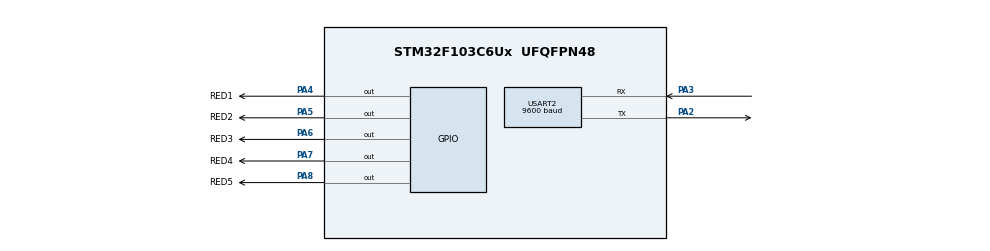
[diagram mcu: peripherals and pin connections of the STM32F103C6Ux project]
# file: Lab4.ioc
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Mcu.Family=STM32F1
Mcu.Name=STM32F103C6Ux
Mcu.Package=UFQFPN48
NVIC.PriorityGroup=NVIC_PRIORITYGROUP_4
NVIC.TIM2_IRQn=true\:0\:0\:false\:false\:true\:true\:true
NVIC.USART2_IRQn=true\:0\:0\:false\:false\:true\:true\:true
PA2.Mode=Asynchronous
PA2.Signal=USART2_TX
PA3.Mode=Asynchronous
PA3.Signal=USART2_RX
PA4.GPIO_Label=RED1
PA4.Signal=GPIO_Output
PA5.GPIO_Label=RED2
PA5.Signal=GPIO_Output
PA6.GPIO_Label=RED3
PA6.Signal=GPIO_Output
PA7.GPIO_Label=RED4
PA7.Signal=GPIO_Output
PA8.GPIO_Label=RED5
PA8.Signal=GPIO_Output
ProjectManager.HeapSize=0x200
ProjectManager.StackSize=0x400
ProjectManager.TargetToolchain=STM32CubeIDE
RCC.APB1Freq_Value=8000000
RCC.APB2Freq_Value=8000000
TIM2.Period=9
TIM2.Prescaler=7999
USART2.BaudRate=9600
USART2.VirtualMode=VM_ASYNC
VP_SYS_VS_ND.Mode=No_Debug
VP_TIM2_VS_ClockSourceINT.Mode=Internal
board=custom

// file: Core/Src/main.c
/* USER CODE BEGIN Header */
/**
  ******************************************************************************
  * @file           : main.c
  * @brief          : Main program body
  ******************************************************************************
  * @attention
  *
  * <h2><center>&copy; Copyright (c) 2022 STMicroelectronics.
  * All rights reserved.</center></h2>
  *
  * This software component is licensed by ST under BSD 3-Clause license,
  * the "License"; You may not use this file except in compliance with the
  * License. You may obtain a copy of the License at:
  *                        opensource.org/licenses/BSD-3-Clause
  *
  ******************************************************************************
  */
/* USER CODE END Header */
#include "main.h"

/* USER CODE BEGIN Includes */
#include "scheduler.h"
#include "global.h"
#include <stdio.h>
/* USER CODE END Includes */

TIM_HandleTypeDef htim2;

UART_HandleTypeDef huart2;

void SystemClock_Config(void);
static void MX_GPIO_Init(void);
static void MX_TIM2_Init(void);
static void MX_USART2_UART_Init(void);

void led1test(void){
	HAL_GPIO_TogglePin(RED1_GPIO_Port, RED1_Pin);
}

void led2test(void){
	HAL_GPIO_TogglePin(RED2_GPIO_Port, RED2_Pin);
}

void led3test(void){
	HAL_GPIO_TogglePin(RED3_GPIO_Port, RED3_Pin);
}

void led4test(void){
	HAL_GPIO_TogglePin(RED4_GPIO_Port, RED4_Pin);
}

void led5test(void){
	HAL_GPIO_TogglePin(RED5_GPIO_Port, RED5_Pin);
}

int main(void)
{

  /* MCU Configuration--------------------------------------------------------*/

  /* Reset of all peripherals, Initializes the Flash interface and the Systick. */
  HAL_Init();

  /* Configure the system clock */
  SystemClock_Config();

  /* Initialize all configured peripherals */
  MX_GPIO_Init();
  MX_TIM2_Init();
  MX_USART2_UART_Init();
  /* USER CODE BEGIN 2 */
  HAL_TIM_Base_Start_IT(&htim2);
  SCH_Init();
  SCH_Add_Task(led1test, 0, 50);
  SCH_Add_Task(led2test, 0, 100);
  SCH_Add_Task(led3test, 0, 150);
  SCH_Add_Task(led4test, 0, 200);
  SCH_Add_Task(led5test, 250, 0);
  /* USER CODE END 2 */

  /* Infinite loop */
  while (1)
  {

    /* USER CODE BEGIN 3 */
	  SCH_Dispatch_Tasks();
  }
  /* USER CODE END 3 */
}

void SystemClock_Config(void)
{
  RCC_OscInitTypeDef RCC_OscInitStruct = {0};
  RCC_ClkInitTypeDef RCC_ClkInitStruct = {0};

  /** Initializes the RCC Oscillators according to the specified parameters
  * in the RCC_OscInitTypeDef structure.
  */
  RCC_OscInitStruct.OscillatorType = RCC_OSCILLATORTYPE_HSI;
  RCC_OscInitStruct.HSIState = RCC_HSI_ON;
  RCC_OscInitStruct.HSICalibrationValue = RCC_HSICALIBRATION_DEFAULT;
  RCC_OscInitStruct.PLL.PLLState = RCC_PLL_NONE;
  if (HAL_RCC_OscConfig(&RCC_OscInitStruct) != HAL_OK)
  {
    Error_Handler();
  }
  /** Initializes the CPU, AHB and APB buses clocks
  */
  RCC_ClkInitStruct.ClockType = RCC_CLOCKTYPE_HCLK|RCC_CLOCKTYPE_SYSCLK
                              |RCC_CLOCKTYPE_PCLK1|RCC_CLOCKTYPE_PCLK2;
  RCC_ClkInitStruct.SYSCLKSource = RCC_SYSCLKSOURCE_HSI;
  RCC_ClkInitStruct.AHBCLKDivider = RCC_SYSCLK_DIV1;
  RCC_ClkInitStruct.APB1CLKDivider = RCC_HCLK_DIV1;
  RCC_ClkInitStruct.APB2CLKDivider = RCC_HCLK_DIV1;

  if (HAL_RCC_ClockConfig(&RCC_ClkInitStruct, FLASH_LATENCY_0) != HAL_OK)
  {
    Error_Handler();
  }
}

static void MX_TIM2_Init(void)
{

  TIM_ClockConfigTypeDef sClockSourceConfig = {0};
  TIM_MasterConfigTypeDef sMasterConfig = {0};

  htim2.Instance = TIM2;
  htim2.Init.Prescaler = 7999;
  htim2.Init.CounterMode = TIM_COUNTERMODE_UP;
  htim2.Init.Period = 9;
  htim2.Init.ClockDivision = TIM_CLOCKDIVISION_DIV1;
  htim2.Init.AutoReloadPreload = TIM_AUTORELOAD_PRELOAD_DISABLE;
  if (HAL_TIM_Base_Init(&htim2) != HAL_OK)
  {
    Error_Handler();
  }
  sClockSourceConfig.ClockSource = TIM_CLOCKSOURCE_INTERNAL;
  if (HAL_TIM_ConfigClockSource(&htim2, &sClockSourceConfig) != HAL_OK)
  {
    Error_Handler();
  }
  sMasterConfig.MasterOutputTrigger = TIM_TRGO_RESET;
  sMasterConfig.MasterSlaveMode = TIM_MASTERSLAVEMODE_DISABLE;
  if (HAL_TIMEx_MasterConfigSynchronization(&htim2, &sMasterConfig) != HAL_OK)
  {
    Error_Handler();
  }

}

static void MX_USART2_UART_Init(void)
{

  huart2.Instance = USART2;
  huart2.Init.BaudRate = 9600;
  huart2.Init.WordLength = UART_WORDLENGTH_8B;
  huart2.Init.StopBits = UART_STOPBITS_1;
  huart2.Init.Parity = UART_PARITY_NONE;
  huart2.Init.Mode = UART_MODE_TX_RX;
  huart2.Init.HwFlowCtl = UART_HWCONTROL_NONE;
  huart2.Init.OverSampling = UART_OVERSAMPLING_16;
  if (HAL_UART_Init(&huart2) != HAL_OK)
  {
    Error_Handler();
  }

}

static void MX_GPIO_Init(void)
{
  GPIO_InitTypeDef GPIO_InitStruct = {0};

  /* GPIO Ports Clock Enable */
  __HAL_RCC_GPIOA_CLK_ENABLE();

  /*Configure GPIO pin Output Level */
  HAL_GPIO_WritePin(GPIOA, RED1_Pin|RED2_Pin|RED3_Pin|RED4_Pin
                          |RED5_Pin, GPIO_PIN_RESET);

  /*Configure GPIO pins : RED1_Pin RED2_Pin RED3_Pin RED4_Pin
                           RED5_Pin */
  GPIO_InitStruct.Pin = RED1_Pin|RED2_Pin|RED3_Pin|RED4_Pin
                          |RED5_Pin;
  GPIO_InitStruct.Mode = GPIO_MODE_OUTPUT_PP;
  GPIO_InitStruct.Pull = GPIO_NOPULL;
  GPIO_InitStruct.Speed = GPIO_SPEED_FREQ_LOW;
  HAL_GPIO_Init(GPIOA, &GPIO_InitStruct);

}

/* USER CODE BEGIN 4 */
char str[20];
int counter = 10;
void HAL_TIM_PeriodElapsedCallback(TIM_HandleTypeDef *htim){
	counter--;
	if(counter <= 0){
		counter = 10;
		HAL_UART_Transmit(&huart2, str, sprintf(str, "Task %d is execute\r\n", status), 1000);
	}
	SCH_Update();
}
/* USER CODE END 4 */

void Error_Handler(void)
{
  __disable_irq();
  while (1)
  {
  }
}

/************************ (C) COPYRIGHT STMicroelectronics *****END OF FILE****/
